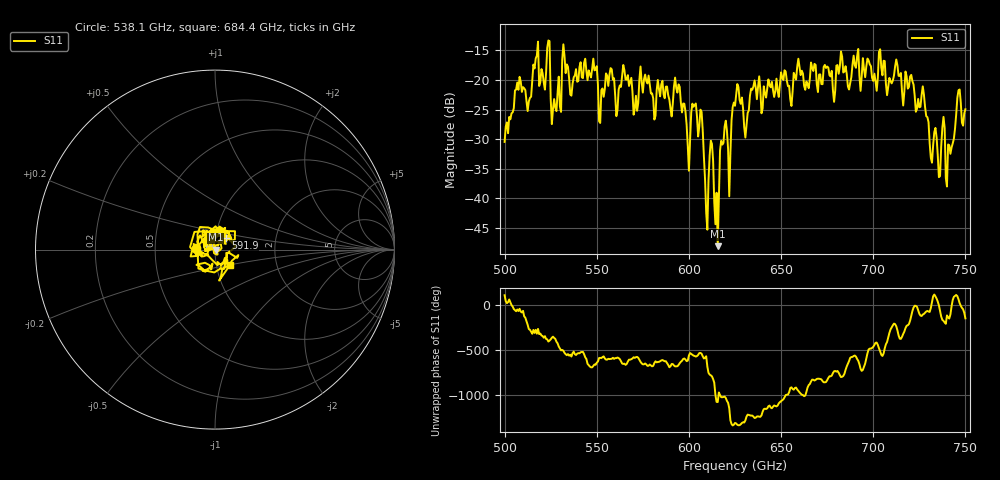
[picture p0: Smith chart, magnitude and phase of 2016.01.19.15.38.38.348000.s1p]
!Created with skrf (http://scikit-rf.org).
# GHz S RI R 50.0
!freq ReS11 ImS11
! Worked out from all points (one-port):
!   401 points, 500 GHz to 750 GHz, reference 50 ohm
!   lowest |S11| = -48.1 dB at 615.6 GHz (marker M1), VSWR 1.01, Z = 50.4 - j0.0119 ohm
!   |S11| at or under -10 dB: start of sweep to end of sweep
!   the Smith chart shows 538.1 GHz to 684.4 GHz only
!   S11 on the Smith chart (normalised r, x): 538.1 GHz: 0.80, +0.02; 591.9 GHz: 1.11, +0.15; 684.4 GHz: 1.16, -0.20
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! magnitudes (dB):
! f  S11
! 500 GHz  -30.5
! 507.5 GHz  -21.7
! 513.1 GHz  -23.7
! 516.9 GHz  -16.4
! 523.8 GHz  -13.3
! 526.9 GHz  -23.2
! 531.2 GHz  -16.6
! 538.1 GHz  -19.2
! 562.5 GHz  -20.9
! 591.9 GHz  -21.1
! 593.8 GHz  -22.1
! 599.4 GHz  -31.1
! 606.2 GHz  -25.0
! 609.4 GHz  -42.5
! 611.9 GHz  -30.3
! 615.6 GHz  -48.1
! 618.1 GHz  -30.9
! 621.9 GHz  -39.7
! 625 GHz  -24.4
! 631.2 GHz  -27.6
! 656.2 GHz  -22.0
! 684.4 GHz  -18.6
! 687.5 GHz  -20.5
! 718.8 GHz  -21.5
! 735.6 GHz  -36.4
! 740.6 GHz  -30.9
! 746.2 GHz  -21.8
! 750 GHz  -25.0
